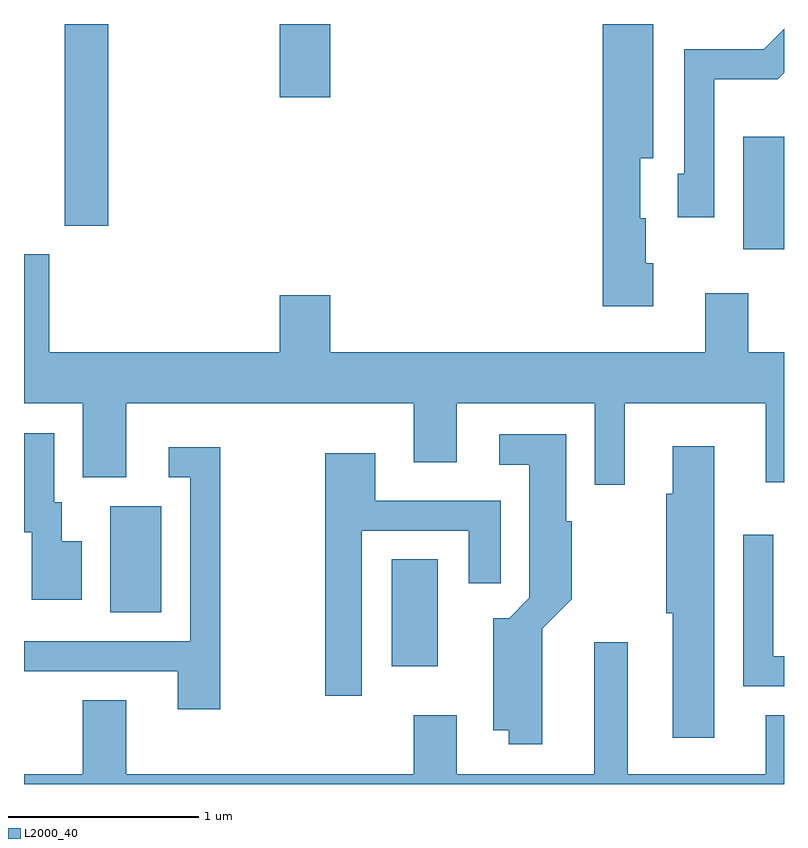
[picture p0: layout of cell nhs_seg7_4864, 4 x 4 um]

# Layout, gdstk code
import gdstk
lib = gdstk.Library(unit=1e-6, precision=1e-09)
def R(c, l, rs):  # rectangles x0, y0, x1, y1
    for r in rs: c.add(gdstk.rectangle(r[:2], r[2:], *l))
def P(c, l, *ps):  # polygons
    for p in ps: c.add(gdstk.Polygon(p, *l))
L2000_40 = (2000, 40)

nhs_seg7_4864 = lib.new_cell('nhs_seg7_4864')
R(nhs_seg7_4864, L2000_40, [(335.546,1772.871,335.789,1773.434), (334.066,1773.156,334.334,1773.714), (337.396,1775.066,337.611,1775.659), (333.826,1775.191,334.054,1776.252), (334.956,1775.866,335.224,1776.252)])
P(nhs_seg7_4864, L2000_40, [(336.924,1774.994),(336.884,1774.994),(336.884,1775.229),(336.854,1775.229),(336.854,1775.546),(336.924,1775.546),(336.924,1776.252),(336.656,1776.252),(336.656,1774.766),(336.924,1774.766)],
  [(337.244,1775.961),(337.577,1775.961),(337.611,1775.995),(337.611,1776.226),(337.504,1776.119),(337.086,1776.119),(337.086,1775.464),(337.051,1775.464),(337.051,1775.236),(337.244,1775.236)],
  [(336.774,1774.256),(337.516,1774.256),(337.516,1773.841),(337.611,1773.841),(337.611,1774.524),(337.424,1774.524),(337.424,1774.834),(337.196,1774.834),(337.196,1774.524),(335.224,1774.524),(335.224,1774.824),(334.956,1774.824),(334.956,1774.524),(333.744,1774.524),(333.744,1775.039),(333.611,1775.039),(333.611,1774.256),(333.921,1774.256),(333.921,1773.866),(334.149,1773.866),(334.149,1774.256),(335.661,1774.256),(335.661,1773.946),(335.889,1773.946),(335.889,1774.256),(336.616,1774.256),(336.616,1773.828),(336.774,1773.828)],
  [(333.914,1773.529),(333.809,1773.529),(333.809,1773.734),(333.769,1773.734),(333.769,1774.099),(333.611,1774.099),(333.611,1773.576),(333.651,1773.576),(333.651,1773.221),(333.914,1773.221)],
  [(336.339,1773.069),(336.494,1773.224),(336.494,1773.634),(336.464,1773.634),(336.464,1774.094),(336.113,1774.094),(336.113,1773.931),(336.271,1773.931),(336.271,1773.232),(336.164,1773.124),(336.081,1773.124),(336.081,1772.536),(336.161,1772.536),(336.161,1772.461),(336.339,1772.461)],
  [(337.244,1774.029),(337.026,1774.029),(337.026,1773.779),(336.991,1773.779),(336.991,1773.151),(337.026,1773.151),(337.026,1772.496),(337.244,1772.496)],
  [(334.644,1774.024),(334.373,1774.024),(334.373,1773.866),(334.486,1773.866),(334.486,1773.004),(333.611,1773.004),(333.611,1772.846),(334.421,1772.846),(334.421,1772.646),(334.644,1772.646)],
  [(335.389,1773.586),(335.951,1773.586),(335.951,1773.308),(336.119,1773.308),(336.119,1773.744),(335.459,1773.744),(335.459,1773.994),(335.196,1773.994),(335.196,1772.716),(335.389,1772.716)],
  [(337.611,1772.924),(337.554,1772.924),(337.554,1773.563),(337.396,1773.563),(337.396,1772.766),(337.611,1772.766)],
  [(337.611,1772.614),(337.516,1772.614),(337.516,1772.304),(336.789,1772.304),(336.789,1772.999),(336.611,1772.999),(336.611,1772.304),(335.889,1772.304),(335.889,1772.614),(335.661,1772.614),(335.661,1772.304),(334.149,1772.304),(334.149,1772.694),(333.921,1772.694),(333.921,1772.304),(333.611,1772.304),(333.611,1772.252),(337.611,1772.252)])

lib.write_gds('nhs_seg7_4864.gds')
